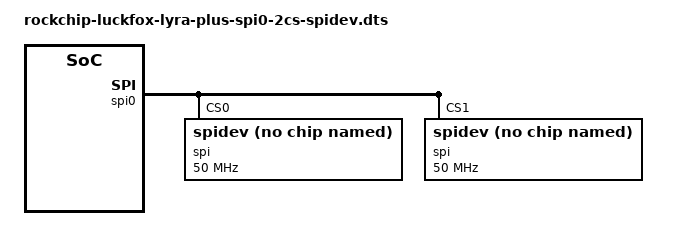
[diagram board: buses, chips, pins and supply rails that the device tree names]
// SPDX-License-Identifier: (GPL-2.0+ OR MIT)
/*
 * Enable spidev on SPI0 with explicit RM_IO pinmux:
 * MOSI = RM_IO6, MISO = RM_IO5, CLK = RM_IO7, CS0 = RM_IO8, CS1 = RM_IO11
 * Retains compatibility with luckfox-pico-plus hats (CS0 = RM_IO8, CS1 = RM_IO11).
 */

/dts-v1/;
/plugin/;

/ {
	metadata {
		title = "Enable SPI0 spidev on luckfox-lyra-plus with two chipselects (CS0 = RM_IO8, CS1 = RM_IO11)";
		compatible = "rockchip,rk3506g-lyra-plus";
		category = "spi";
		exclusive = "spi0", "RM_IO5", "RM_IO6", "RM_IO7", "RM_IO8", "RM_IO11";
		description = "Enable SPI0 spidev using RM_IO6(MOSI), RM_IO5(MISO), RM_IO7(CLK), RM_IO8(CS0), RM_IO11(CS1).";
	};
};

&spi0 {
	status = "okay";
	num-cs = <2>;
	pinctrl-names = "default";
	pinctrl-0 = <&rm_io7_spi0_clk &rm_io5_spi0_miso &rm_io6_spi0_mosi &rm_io8_spi0_csn0 &rm_io11_spi0_csn1>;

	spi@0 {
		compatible = "rockchip,spidev";
		reg = <0>;
		spi-max-frequency = <50000000>;
		status = "okay";
	};

	spi@1 {
		compatible = "rockchip,spidev";
		reg = <1>;
		spi-max-frequency = <50000000>;
		status = "okay";
	};
};
